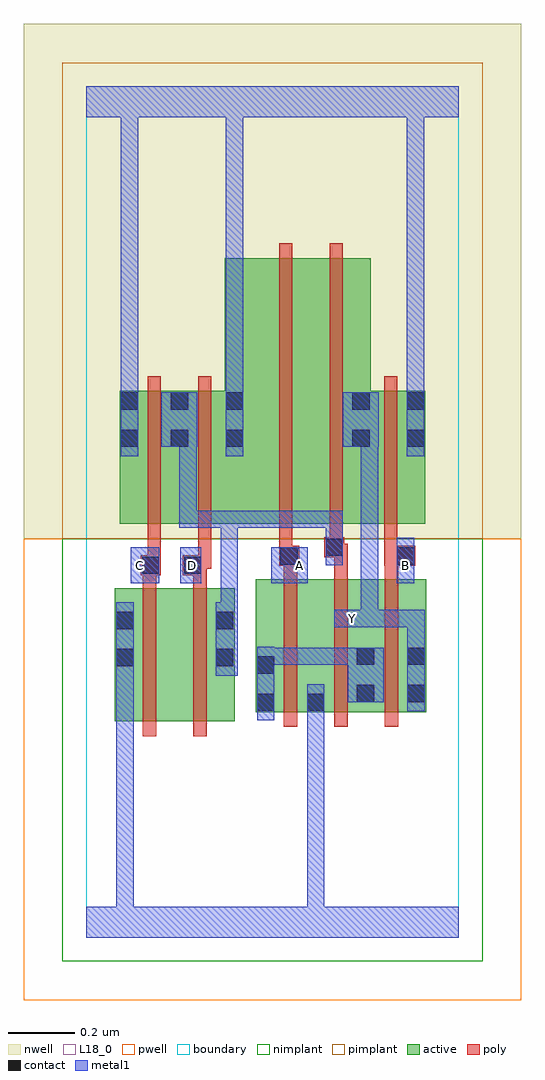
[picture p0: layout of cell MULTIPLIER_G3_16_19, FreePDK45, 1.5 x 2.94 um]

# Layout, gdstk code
import gdstk
lib = gdstk.Library(unit=1e-6, precision=1e-09)
def R(c, l, rs):  # rectangles x0, y0, x1, y1
    for r in rs: c.add(gdstk.rectangle(r[:2], r[2:], *l))
def A(c, l, x, y, w, h, nx, ny, dx, dy):  # array of equal rectangles
    R(c, l, [(x+i*dx, y+j*dy, x+i*dx+w, y+j*dy+h) for i in range(nx) for j in range(ny)])
active = (1, 0)
pwell = (2, 0)
nwell = (3, 0)
nimplant = (4, 0)
pimplant = (5, 0)
poly = (9, 0)
contact = (10, 0)
metal1 = (11, 0)
L18_0 = (18, 0)
boundary = (235, 0)

multiplier_g3_16_19 = lib.new_cell('MULTIPLIER_G3_16_19')
R(multiplier_g3_16_19, active, [(0.086,0.65,0.146,1.05), (0.086,0.65,0.266,1.05), (0.266,0.65,0.446,1.05), (0.386,0.65,0.446,1.05), (0.51,0.678,0.72,1.078), (0.51,0.678,0.57,1.078), (0.66,0.678,0.87,1.078), (0.66,0.678,0.72,0.738), (0.81,0.678,1.022,1.078), (0.81,0.704,0.87,0.876), (0.962,0.704,1.022,1.078), (0.1,1.244,0.31,1.644), (0.1,1.244,0.16,1.644), (0.25,1.244,0.31,1.644), (0.25,1.244,0.476,1.644), (0.416,1.244,0.676,2.044), (0.416,1.244,0.476,1.888), (0.676,1.244,0.856,2.044), (0.796,1.244,1.02,1.644), (0.796,1.244,0.856,1.808), (0.96,1.244,1.02,1.644)])
R(multiplier_g3_16_19, pwell, [(-0.188,-0.188,1.308,1.2)])
R(multiplier_g3_16_19, nwell, [(-0.188,1.2,1.308,2.748)])
R(multiplier_g3_16_19, nimplant, [(-0.072,-0.072,1.192,1.2)])
R(multiplier_g3_16_19, pimplant, [(-0.072,1.2,1.192,2.632)])
A(multiplier_g3_16_19, poly, 0.594, 0.634, 0.04, 0.488, 3, 1, 0.152, 0)
R(multiplier_g3_16_19, poly, [(0.17,0.606,0.21,1.094), (0.322,0.606,0.362,1.094), (0.17,1.054,0.21,1.13), (0.322,1.054,0.362,1.13), (0.594,1.082,0.634,1.158), (0.746,1.082,0.786,1.184), (0.898,1.082,0.938,1.158), (0.164,1.09,0.224,1.15), (0.17,1.09,0.21,1.13), (0.17,1.09,0.21,1.13), (0.29,1.09,0.362,1.15), (0.184,1.11,0.224,1.24), (0.322,1.11,0.362,1.15), (0.322,1.11,0.376,1.15), (0.336,1.11,0.376,1.24), (0.58,1.118,0.64,1.178), (0.896,1.118,0.99,1.178), (0.898,1.118,0.938,1.158), (0.898,1.118,0.938,1.158), (0.58,1.138,0.62,1.24), (0.58,1.138,0.62,1.178), (0.58,1.138,0.62,1.178), (0.896,1.138,0.936,1.24), (0.716,1.144,0.776,1.204), (0.736,1.144,0.776,1.184), (0.736,1.144,0.786,1.184), (0.732,1.164,0.772,1.24), (0.184,1.2,0.224,1.688), (0.336,1.2,0.376,1.688), (0.58,1.2,0.62,2.088), (0.732,1.2,0.772,2.088), (0.896,1.2,0.936,1.688)])
R(multiplier_g3_16_19, contact, [(0.514,0.682,0.566,0.734), (0.664,0.682,0.716,0.734), (0.814,0.708,0.866,0.76), (0.966,0.708,1.018,0.76), (0.514,0.794,0.566,0.846), (0.09,0.816,0.142,0.868), (0.39,0.816,0.442,0.868), (0.814,0.82,0.866,0.872), (0.966,0.82,1.018,0.872), (0.09,0.928,0.142,0.98), (0.39,0.928,0.442,0.98), (0.168,1.094,0.22,1.146), (0.294,1.094,0.346,1.146), (0.584,1.122,0.636,1.174), (0.934,1.122,0.986,1.174), (0.72,1.148,0.772,1.2), (0.104,1.476,0.156,1.528), (0.254,1.476,0.306,1.528), (0.42,1.476,0.472,1.528), (0.8,1.476,0.852,1.528), (0.964,1.476,1.016,1.528), (0.104,1.588,0.156,1.64), (0.254,1.588,0.306,1.64), (0.42,1.588,0.472,1.64), (0.8,1.588,0.852,1.64), (0.964,1.588,1.016,1.64)])
R(multiplier_g3_16_19, metal1, [(0,0,1.12,0.092), (0.09,0.04,0.142,0.84), (0.664,0.04,0.716,0.092), (0.664,0.04,0.716,0.092), (0.664,0.04,0.716,0.706), (0.514,0.654,0.566,0.874), (0.664,0.654,0.716,0.706), (0.664,0.654,0.716,0.706), (0.664,0.654,0.716,0.706), (0.664,0.654,0.716,0.706), (0.664,0.654,0.716,0.706), (0.664,0.654,0.716,0.706), (0.664,0.654,0.716,0.706), (0.664,0.654,0.716,0.706), (0.664,0.654,0.716,0.706), (0.664,0.654,0.716,0.706), (0.664,0.654,0.716,0.762), (0.966,0.68,1.018,0.9), (0.786,0.708,0.894,0.872), (0.09,0.788,0.142,0.84), (0.09,0.788,0.142,0.84), (0.09,0.788,0.142,0.84), (0.09,0.788,0.142,0.84), (0.09,0.788,0.142,0.84), (0.09,0.788,0.142,0.84), (0.09,0.788,0.142,0.84), (0.09,0.788,0.142,0.84), (0.09,0.788,0.142,0.84), (0.09,0.788,0.142,0.84), (0.09,0.788,0.142,0.84), (0.09,0.788,0.142,0.84), (0.09,0.788,0.142,1.008), (0.39,0.788,0.456,1.008), (0.514,0.82,0.566,0.872), (0.514,0.82,0.566,0.872), (0.514,0.82,0.688,0.872), (0.636,0.82,0.688,0.872), (0.636,0.82,0.688,0.872), (0.636,0.82,0.688,0.872), (0.636,0.82,0.838,0.872), (0.966,0.848,1.018,0.986), (0.746,0.934,0.878,0.986), (0.826,0.934,0.878,0.986), (0.826,0.934,0.878,0.986), (0.826,0.934,1.018,0.986), (0.826,0.934,0.878,1.528), (0.966,0.934,1.018,0.986), (0.966,0.934,1.018,0.986), (0.966,0.934,1.018,0.986), (0.404,0.956,0.456,1.008), (0.404,0.956,0.456,1.008), (0.404,0.956,0.456,1.284), (0.134,1.066,0.22,1.174), (0.282,1.066,0.346,1.174), (0.556,1.066,0.666,1.174), (0.934,1.066,0.986,1.202), (0.72,1.12,0.772,1.284), (0.28,1.232,0.332,1.284), (0.28,1.232,0.332,1.284), (0.28,1.232,0.332,1.284), (0.28,1.232,0.456,1.284), (0.28,1.232,0.332,1.528), (0.404,1.232,0.456,1.284), (0.404,1.232,0.456,1.284), (0.404,1.232,0.456,1.284), (0.404,1.232,0.566,1.284), (0.514,1.232,0.566,1.284), (0.514,1.232,0.688,1.284), (0.636,1.232,0.688,1.284), (0.636,1.232,0.772,1.284), (0.104,1.448,0.156,1.668), (0.42,1.448,0.472,1.668), (0.964,1.448,1.016,1.668), (0.226,1.476,0.334,1.64), (0.772,1.476,0.88,1.64), (0.104,1.616,0.156,1.668), (0.104,1.616,0.156,1.668), (0.104,1.616,0.156,1.668), (0.104,1.616,0.156,1.668), (0.104,1.616,0.156,2.52), (0.42,1.616,0.472,1.668), (0.42,1.616,0.472,1.668), (0.42,1.616,0.472,1.668), (0.42,1.616,0.472,1.668), (0.42,1.616,0.472,1.668), (0.42,1.616,0.472,1.668), (0.42,1.616,0.472,2.52), (0.964,1.616,1.016,2.52), (0,2.468,1.12,2.56), (0.104,2.468,0.156,2.52), (0.104,2.468,0.156,2.52), (0.104,2.468,0.156,2.52), (0.104,2.468,0.156,2.52), (0.104,2.468,0.156,2.52), (0.104,2.468,0.156,2.52), (0.104,2.468,0.156,2.52), (0.104,2.468,0.156,2.52), (0.104,2.468,0.156,2.52), (0.104,2.468,0.156,2.52), (0.104,2.468,0.156,2.52), (0.104,2.468,0.156,2.52), (0.42,2.468,0.472,2.52), (0.42,2.468,0.472,2.52), (0.964,2.468,1.016,2.52), (0.964,2.468,1.016,2.52), (0.964,2.468,1.016,2.52), (0.964,2.468,1.016,2.52), (0.964,2.468,1.016,2.52), (0.964,2.468,1.016,2.52), (0.964,2.468,1.016,2.52), (0.964,2.468,1.016,2.52), (0.964,2.468,1.016,2.52), (0.964,2.468,1.016,2.52), (0.964,2.468,1.016,2.52), (0.964,2.468,1.016,2.52), (0.964,2.468,1.016,2.52), (0.964,2.468,1.016,2.52), (0.964,2.468,1.016,2.52), (0.964,2.468,1.016,2.52)])
A(multiplier_g3_16_19, L18_0, 0.294, 1.094, 0.052, 0.052, 3, 1, 0.32, 0)
R(multiplier_g3_16_19, L18_0, [(0,0,1.12,0.092), (0.09,0.04,0.142,0.84), (0.664,0.04,0.716,0.092), (0.664,0.04,0.716,0.092), (0.664,0.04,0.716,0.706), (0.664,0.654,0.716,0.706), (0.664,0.654,0.716,0.706), (0.664,0.654,0.716,0.706), (0.664,0.654,0.716,0.706), (0.664,0.654,0.716,0.706), (0.664,0.654,0.716,0.706), (0.664,0.654,0.716,0.706), (0.664,0.654,0.716,0.706), (0.664,0.654,0.716,0.706), (0.664,0.654,0.716,0.706), (0.664,0.654,0.716,0.762), (0.966,0.68,1.018,0.9), (0.09,0.788,0.142,0.84), (0.09,0.788,0.142,0.84), (0.09,0.788,0.142,0.84), (0.09,0.788,0.142,0.84), (0.09,0.788,0.142,0.84), (0.09,0.788,0.142,0.84), (0.09,0.788,0.142,0.84), (0.09,0.788,0.142,0.84), (0.09,0.788,0.142,0.84), (0.09,0.788,0.142,0.84), (0.09,0.788,0.142,0.84), (0.09,0.788,0.142,0.84), (0.09,0.788,0.142,1.008), (0.966,0.848,1.018,0.986), (0.746,0.934,0.878,0.986), (0.774,0.934,0.826,0.986), (0.826,0.934,0.878,0.986), (0.826,0.934,0.878,0.986), (0.826,0.934,0.878,1.528), (0.826,0.934,1.018,0.986), (0.966,0.934,1.018,0.986), (0.966,0.934,1.018,0.986), (0.966,0.934,1.018,0.986), (0.134,1.066,0.22,1.174), (0.282,1.066,0.346,1.174), (0.556,1.066,0.666,1.174), (0.934,1.066,0.986,1.202), (0.134,1.094,0.186,1.146), (0.104,1.448,0.156,1.668), (0.42,1.448,0.472,1.668), (0.964,1.448,1.016,1.668), (0.772,1.476,0.88,1.64), (0.104,1.616,0.156,1.668), (0.104,1.616,0.156,1.668), (0.104,1.616,0.156,1.668), (0.104,1.616,0.156,1.668), (0.104,1.616,0.156,2.52), (0.42,1.616,0.472,1.668), (0.42,1.616,0.472,1.668), (0.42,1.616,0.472,1.668), (0.42,1.616,0.472,1.668), (0.42,1.616,0.472,1.668), (0.42,1.616,0.472,1.668), (0.42,1.616,0.472,2.52), (0.964,1.616,1.016,2.52), (0,2.468,1.12,2.56), (0.104,2.468,0.156,2.52), (0.104,2.468,0.156,2.52), (0.104,2.468,0.156,2.52), (0.104,2.468,0.156,2.52), (0.104,2.468,0.156,2.52), (0.104,2.468,0.156,2.52), (0.104,2.468,0.156,2.52), (0.104,2.468,0.156,2.52), (0.104,2.468,0.156,2.52), (0.104,2.468,0.156,2.52), (0.104,2.468,0.156,2.52), (0.104,2.468,0.156,2.52), (0.42,2.468,0.472,2.52), (0.42,2.468,0.472,2.52), (0.964,2.468,1.016,2.52), (0.964,2.468,1.016,2.52), (0.964,2.468,1.016,2.52), (0.964,2.468,1.016,2.52), (0.964,2.468,1.016,2.52), (0.964,2.468,1.016,2.52), (0.964,2.468,1.016,2.52), (0.964,2.468,1.016,2.52), (0.964,2.468,1.016,2.52), (0.964,2.468,1.016,2.52), (0.964,2.468,1.016,2.52), (0.964,2.468,1.016,2.52), (0.964,2.468,1.016,2.52), (0.964,2.468,1.016,2.52), (0.964,2.468,1.016,2.52), (0.964,2.468,1.016,2.52)])
R(multiplier_g3_16_19, boundary, [(0,0,1.12,2.56)])
multiplier_g3_16_19.add(gdstk.Label('A', (0.64,1.12), layer=11, texttype=0))
multiplier_g3_16_19.add(gdstk.Label('B', (0.96,1.12), layer=11, texttype=0))
multiplier_g3_16_19.add(gdstk.Label('C', (0.16,1.12), layer=11, texttype=0))
multiplier_g3_16_19.add(gdstk.Label('D', (0.32,1.12), layer=11, texttype=0))
multiplier_g3_16_19.add(gdstk.Label('Y', (0.8,0.96), layer=11, texttype=0))

lib.write_gds('MULTIPLIER_G3_16_19.gds')
